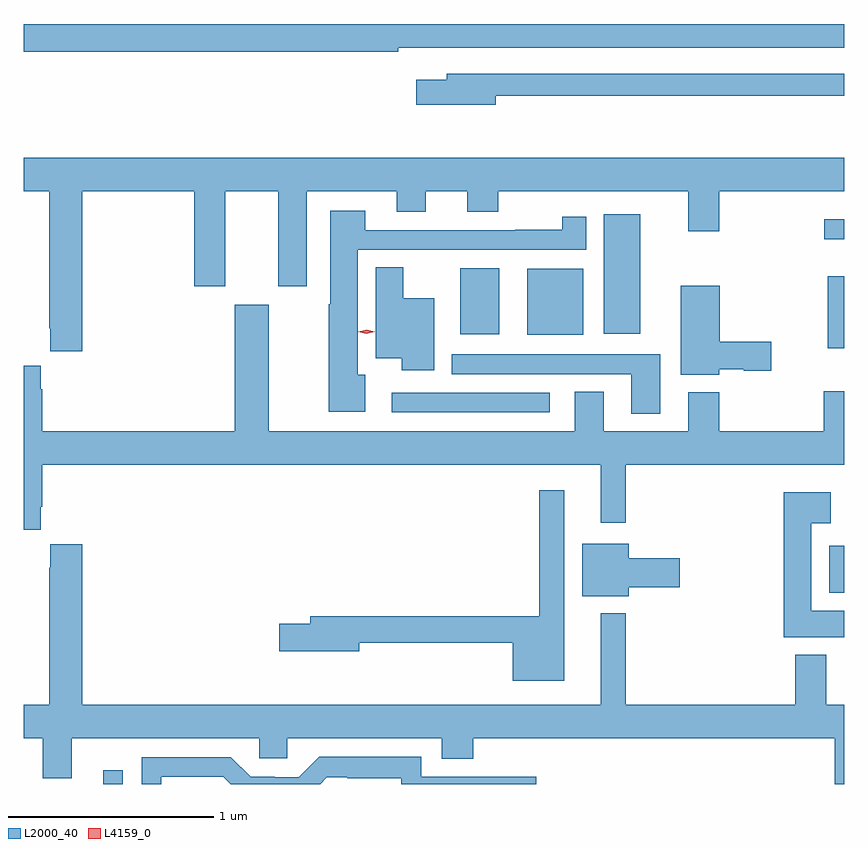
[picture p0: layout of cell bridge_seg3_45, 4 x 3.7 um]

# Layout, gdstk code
import gdstk
lib = gdstk.Library(unit=1e-6, precision=1e-09)
def R(c, l, rs):  # rectangles x0, y0, x1, y1
    for r in rs: c.add(gdstk.rectangle(r[:2], r[2:], *l))
def P(c, l, *ps):  # polygons
    for p in ps: c.add(gdstk.Polygon(p, *l))
L2000_40 = (2000, 40)
L4159_0 = (4159, 0)

bridge_seg3_45 = lib.new_cell('bridge_seg3_45')
R(bridge_seg3_45, L2000_40, [(659.981,679.381,660.077,679.447), (663.518,680.312,663.593,680.542), (661.386,681.192,662.158,681.288), (663.512,681.504,663.593,681.856), (662.048,681.569,662.32,681.892), (661.721,681.572,661.912,681.895), (662.42,681.575,662.599,682.156), (663.495,682.035,663.593,682.132)])
P(bridge_seg3_45, L2000_40, [(661.418,682.968),(663.593,682.968),(663.593,683.084),(659.593,683.084),(659.593,682.948),(661.418,682.948)],
  [(661.894,682.734),(663.593,682.734),(663.593,682.842),(661.655,682.842),(661.655,682.813),(661.506,682.813),(661.506,682.691),(661.894,682.691)],
  [(659.879,682.268),(660.425,682.268),(660.425,681.807),(660.577,681.807),(660.577,682.268),(660.833,682.268),(660.833,681.807),(660.973,681.807),(660.973,682.268),(661.412,682.268),(661.412,682.169),(661.552,682.169),(661.552,682.268),(661.754,682.268),(661.754,682.169),(661.907,682.169),(661.907,682.268),(662.831,682.268),(662.831,682.074),(662.984,682.074),(662.984,682.268),(663.593,682.268),(663.593,682.432),(659.593,682.432),(659.593,682.268),(659.719,682.268),(659.719,681.601),(659.723,681.601),(659.723,681.489),(659.879,681.489)],
  [(661.258,681.376),(661.222,681.376),(661.222,681.984),(662.335,681.984),(662.335,682.144),(662.218,682.144),(662.218,682.082),(661.99,682.082),(661.99,682.08),(661.258,682.08),(661.258,682.174),(661.088,682.174),(661.088,681.719),(661.081,681.719),(661.081,681.194),(661.258,681.194)],
  [(661.594,681.748),(661.444,681.748),(661.444,681.899),(661.31,681.899),(661.31,681.455),(661.436,681.455),(661.436,681.396),(661.594,681.396)],
  [(662.982,681.401),(663.102,681.401),(663.102,681.394),(663.235,681.394),(663.235,681.536),(662.986,681.536),(662.986,681.808),(662.795,681.808),(662.795,681.374),(662.982,681.374)],
  [(659.677,680.731),(659.684,680.731),(659.684,680.936),(662.405,680.936),(662.405,680.655),(662.527,680.655),(662.527,680.936),(663.593,680.936),(663.593,681.295),(663.491,681.295),(663.491,681.1),(662.984,681.1),(662.984,681.289),(662.831,681.289),(662.831,681.1),(662.419,681.1),(662.419,681.293),(662.279,681.293),(662.279,681.1),(660.787,681.1),(660.787,681.715),(660.623,681.715),(660.623,681.1),(659.684,681.1),(659.684,681.305),(659.677,681.305),(659.677,681.418),(659.593,681.418),(659.593,680.619),(659.677,680.619)],
  [(662.695,681.474),(661.68,681.474),(661.68,681.378),(662.555,681.378),(662.555,681.186),(662.695,681.186)],
  [(662.227,680.812),(662.106,680.812),(662.106,680.198),(660.989,680.198),(660.989,680.162),(660.84,680.162),(660.84,680.027),(661.228,680.027),(661.228,680.07),(661.976,680.07),(661.976,679.883),(662.227,679.883)],
  [(663.593,680.224),(663.43,680.224),(663.43,680.651),(663.526,680.651),(663.526,680.803),(663.296,680.803),(663.296,680.096),(663.593,680.096)],
  [(662.542,680.339),(662.791,680.339),(662.791,680.481),(662.542,680.481),(662.542,680.551),(662.315,680.551),(662.315,680.297),(662.542,680.297)],
  [(663.593,679.768),(663.505,679.768),(663.505,680.011),(663.353,680.011),(663.353,679.768),(662.527,679.768),(662.527,680.212),(662.405,680.212),(662.405,679.768),(659.879,679.768),(659.879,680.548),(659.723,680.548),(659.723,680.435),(659.719,680.435),(659.719,679.768),(659.593,679.768),(659.593,679.604),(659.687,679.604),(659.687,679.41),(659.827,679.41),(659.827,679.604),(660.741,679.604),(660.741,679.506),(660.879,679.506),(660.879,679.604),(661.631,679.604),(661.631,679.505),(661.784,679.505),(661.784,679.604),(663.546,679.604),(663.546,679.381),(663.593,679.381)],
  [(660.264,679.416),(660.567,679.416),(660.602,679.381),(661.039,679.381),(661.071,679.413),(661.171,679.413),(661.171,679.409),(661.434,679.409),(661.434,679.381),(662.092,679.381),(662.092,679.416),(661.53,679.416),(661.53,679.513),(661.033,679.513),(660.933,679.413),(660.818,679.413),(660.818,679.416),(660.699,679.416),(660.603,679.512),(660.168,679.512),(660.168,679.381),(660.264,679.381)])
P(bridge_seg3_45, L4159_0, [(661.264,681.574),(661.225,681.584),(661.225,681.585),(661.225,681.585),(661.265,681.594),(661.304,681.584),(661.304,681.584),(661.304,681.584)])

lib.write_gds('bridge_seg3_45.gds')
